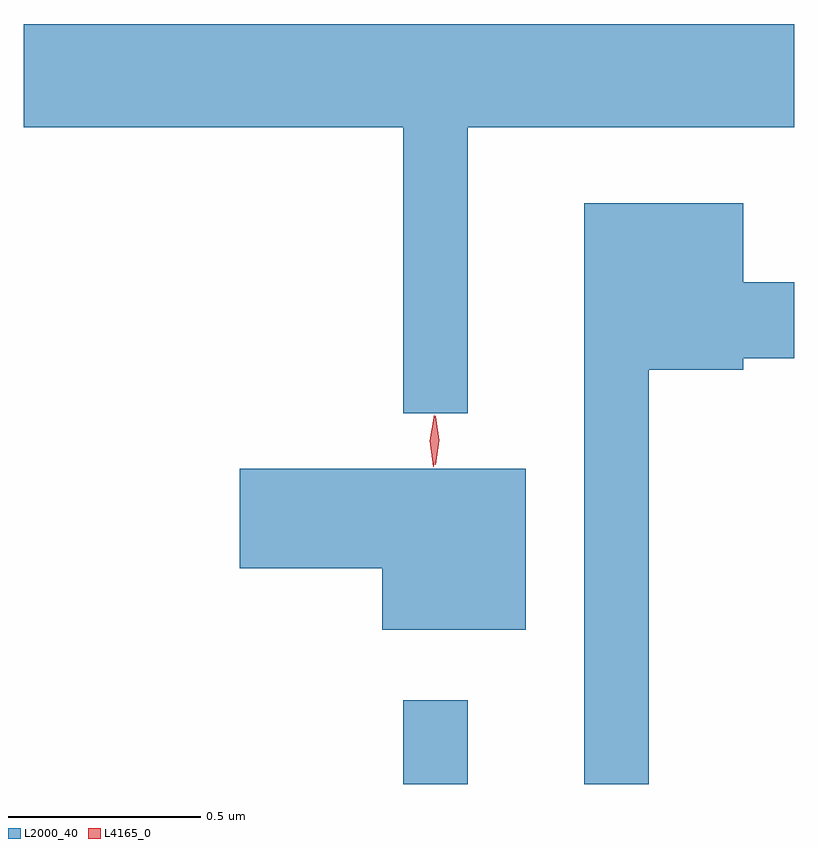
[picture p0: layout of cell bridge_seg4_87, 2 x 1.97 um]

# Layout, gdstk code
import gdstk
lib = gdstk.Library(unit=1e-6, precision=1e-09)
def R(c, l, rs):  # rectangles x0, y0, x1, y1
    for r in rs: c.add(gdstk.rectangle(r[:2], r[2:], *l))
def P(c, l, *ps):  # polygons
    for p in ps: c.add(gdstk.Polygon(p, *l))
L2000_40 = (2000, 40)
L4165_0 = (4165, 0)

bridge_seg4_87 = lib.new_cell('bridge_seg4_87')
R(bridge_seg4_87, L2000_40, [(1089.291,1326.331,1089.459,1326.548)])
P(bridge_seg4_87, L2000_40, [(1089.459,1328.036),(1090.306,1328.036),(1090.306,1328.304),(1088.306,1328.304),(1088.306,1328.036),(1089.291,1328.036),(1089.291,1327.293),(1089.459,1327.293)],
  [(1089.929,1327.406),(1090.174,1327.406),(1090.174,1327.436),(1090.306,1327.436),(1090.306,1327.634),(1090.174,1327.634),(1090.174,1327.839),(1089.761,1327.839),(1089.761,1326.331),(1089.929,1326.331)],
  [(1089.609,1327.149),(1088.866,1327.149),(1088.866,1326.891),(1089.236,1326.891),(1089.236,1326.731),(1089.609,1326.731)])
P(bridge_seg4_87, L4165_0, [(1089.369,1327.154),(1089.36,1327.222),(1089.371,1327.29),(1089.371,1327.29),(1089.372,1327.29),(1089.38,1327.222),(1089.37,1327.154),(1089.37,1327.154)],
  [(1089.374,1327.16),(1089.365,1327.224),(1089.374,1327.286),(1089.375,1327.287),(1089.375,1327.286),(1089.385,1327.224),(1089.375,1327.16),(1089.375,1327.16)])

lib.write_gds('bridge_seg4_87.gds')
